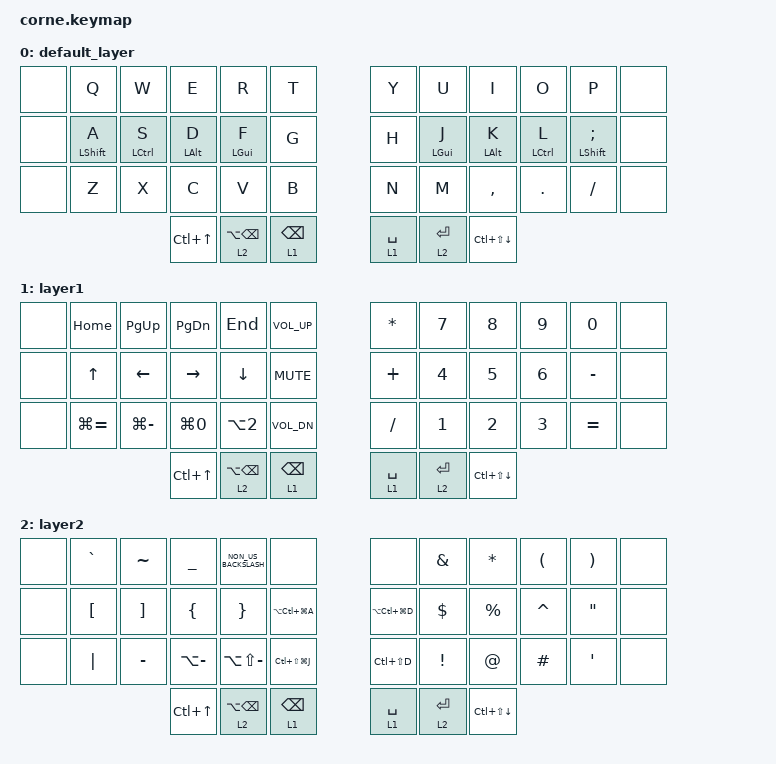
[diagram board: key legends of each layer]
/*
 * Copyright (c) 2020 The ZMK Contributors
 *
 * SPDX-License-Identifier: MIT
 */

#include <behaviors.dtsi>
#include <dt-bindings/zmk/keys.h>

/ {
    combos {
        compatible = "zmk,combos";

        Cut {
            bindings = <&kp LG(X)>;
            key-positions = <13 14>;
            slow-release;
            require-prior-idle-ms = <150>;
            timeout-ms = <50>;
        };

        Copy {
            bindings = <&kp LG(C)>;
            key-positions = <15 16>;
            slow-release;
            require-prior-idle-ms = <150>;
            timeout-ms = <50>;
        };

        Paste {
            bindings = <&kp LG(V)>;
            key-positions = <19 20>;
            slow-release;
            require-prior-idle-ms = <150>;
            timeout-ms = <50>;
        };

        PurePaste {
            bindings = <&kp LC(V)>;
            key-positions = <21 22>;
            slow-release;
            require-prior-idle-ms = <150>;
            timeout-ms = <50>;
        };

        Alfred {
            bindings = <&kp LG(SPACE)>;
            key-positions = <17 18>;
            slow-release;
            require-prior-idle-ms = <150>;
            timeout-ms = <50>;
        };

        Clipboard {
            bindings = <&kp LG(LS(V))>;
            key-positions = <16 19>;
            slow-release;
            require-prior-idle-ms = <150>;
            timeout-ms = <50>;
        };

        SelectAll {
            bindings = <&kp LG(A)>;
            key-positions = <15 20>;
            slow-release;
            require-prior-idle-ms = <150>;
            timeout-ms = <50>;
        };

        ColorPicker {
            bindings = <&kp LG(LS(J))>;
            key-positions = <14 21>;
            slow-release;
            require-prior-idle-ms = <150>;
            timeout-ms = <50>;
        };

        LeftDesktop {
            bindings = <&kp LC(LEFT)>;
            key-positions = <13 16>;
            slow-release;
            require-prior-idle-ms = <150>;
            timeout-ms = <50>;
        };

        RightDesktop {
            bindings = <&kp LC(RIGHT)>;
            key-positions = <19 22>;
            slow-release;
            require-prior-idle-ms = <150>;
            timeout-ms = <50>;
        };

        LeftTab {
            bindings = <&kp LC(LS(TAB))>;
            key-positions = <13 15>;
            slow-release;
            require-prior-idle-ms = <150>;
            timeout-ms = <50>;
        };

        RightTab {
            bindings = <&kp LC(TAB)>;
            key-positions = <20 22>;
            slow-release;
            require-prior-idle-ms = <150>;
            timeout-ms = <50>;
        };

        LeftApp {
            bindings = <&kp LA(TAB)>;
            key-positions = <16 14>;
            slow-release;
            require-prior-idle-ms = <150>;
            timeout-ms = <50>;
        };

        RightApp {
            bindings = <&kp LA(TAB)>;
            key-positions = <19 21>;
            slow-release;
            require-prior-idle-ms = <150>;
            timeout-ms = <50>;
        };

        TextSniper {
            bindings = <&kp LG(LS(NUMBER_2))>;
            key-positions = <14 15>;
            slow-release;
            require-prior-idle-ms = <150>;
            timeout-ms = <50>;
        };

        LassoScreenshot {
            bindings = <&kp LG(LS(NUMBER_4))>;
            key-positions = <20 21>;
            slow-release;
            require-prior-idle-ms = <150>;
            timeout-ms = <50>;
        };

        Undo {
            bindings = <&kp LG(Z)>;
            key-positions = <16 17>;
            slow-release;
            require-prior-idle-ms = <150>;
            timeout-ms = <50>;
        };

        Redo {
            bindings = <&kp LG(LS(Z))>;
            key-positions = <18 19>;
            slow-release;
            require-prior-idle-ms = <150>;
            timeout-ms = <50>;
        };

        Escape {
            bindings = <&kp ESCAPE>;
            key-positions = <25 26>;
            slow-release;
            require-prior-idle-ms = <150>;
            timeout-ms = <50>;
        };

        Tab {
            bindings = <&kp TAB>;
            key-positions = <27 28>;
            slow-release;
            require-prior-idle-ms = <150>;
            timeout-ms = <50>;
        };

        LockMac {
            bindings = <&kp LG(L)>;
            key-positions = <29 30>;
            slow-release;
            require-prior-idle-ms = <150>;
            timeout-ms = <50>;
        };

        Delete {
            bindings = <&kp DELETE>;
            key-positions = <31 32>;
            slow-release;
            require-prior-idle-ms = <150>;
            timeout-ms = <50>;
        };

        CapsLock {
            bindings = <&kp CAPSLOCK>;
            key-positions = <33 34>;
            slow-release;
            require-prior-idle-ms = <150>;
            timeout-ms = <50>;
        };
    };

    behaviors {
        kp_behavior: kp_behavior {
            compatible = "zmk,behavior-hold-tap";
            label = "KP_BEHAVIOR";
            bindings = <&kp>, <&kp>;

            #binding-cells = <2>;
            tapping-term-ms = <75>;
            flavor = "balanced";
            hold-while-undecided;
            hold-while-undecided-linger;
            retro-tap;
            hold-trigger-on-release;
            quick-tap-ms = <60>;
            require-prior-idle-ms = <0>;
            hold-trigger-key-positions = <1 2 3 4 5 7 8 9 10 31 32 33 34 6 30 25 26 27 28 29 17 18 13 14 15 16 19 20 21 22>;
        };

        lt_behavior: lt_behavior {
            compatible = "zmk,behavior-hold-tap";
            label = "LT_BEHAVIOR";
            bindings = <&lt>, <&lt>;

            #binding-cells = <2>;
            tapping-term-ms = <450>;
            hold-trigger-key-positions = <37 38 39 40>;
            quick-tap-ms = <250>;
            require-prior-idle-ms = <200>;
            hold-while-undecided;
            hold-while-undecided-linger;
            retro-tap;
            hold-trigger-on-release;
        };

        mt_behavior: mt_behavior {
            compatible = "zmk,behavior-hold-tap";
            label = "MT_BEHAVIOR";
            bindings = <&mt>, <&mt>;

            #binding-cells = <2>;
            tapping-term-ms = <450>;
            hold-trigger-key-positions = <13 14 15 16 19 20 21 22>;
            quick-tap-ms = <400>;
            require-prior-idle-ms = <350>;
            hold-while-undecided;
            hold-while-undecided-linger;
            retro-tap;
            hold-trigger-on-release;
            flavor = "balanced";
        };
    };

    keymap {
        compatible = "zmk,keymap";

        default_layer {
            // -----------------------------------------------------------------------------------------
            // |  TAB |  Q  |  W  |  E  |  R  |  T  |   |  Y  |  U   |  I  |  O  |  P  | BSPC |
            // | CTRL |  A  |  S  |  D  |  F  |  G  |   |  H  |  J   |  K  |  L  |  ;  |  '   |
            // | SHFT |  Z  |  X  |  C  |  V  |  B  |   |  N  |  M   |  ,  |  .  |  /  | ESC  |
            //                    | GUI | LWR | SPC |   | ENT | RSE  | ALT |

            bindings = <
&none  &kp Q             &kp W               &kp E             &kp R                &kp T              &kp Y        &kp U           &kp I             &kp O               &kp P                     &none
&none  &mt LEFT_SHIFT A  &mt LEFT_CONTROL S  &mt LEFT_ALT D    &mt LEFT_GUI F       &kp G              &kp H        &mt LEFT_GUI J  &mt LEFT_ALT K    &mt LEFT_CONTROL L  &mt LEFT_SHIFT SEMICOLON  &none
&none  &kp Z             &kp X               &kp C             &kp V                &kp B              &kp N        &kp M           &kp COMMA         &kp DOT             &kp FSLH                  &none
                                             &kp LC(UP_ARROW)  &lt 2 LA(BACKSPACE)  &lt 1 BACKSPACE    &lt 1 SPACE  &lt 2 ENTER     &kp LC(LS(DOWN))
            >;
        };

        layer1 {
            // -----------------------------------------------------------------------------------------
            // |  TAB |  1  |  2  |  3  |  4  |  5  |   |  6  |  7  |  8  |  9  |  0  | BSPC |
            // | BTCLR| BT1 | BT2 | BT3 | BT4 | BT5 |   | LFT | DWN |  UP | RGT |     |      |
            // | SHFT |     |     |     |     |     |   |     |     |     |     |     |      |
            //                    | GUI |     | SPC |   | ENT |     | ALT |

            bindings = <
&none  &kp HOME       &kp PAGE_UP    &kp PAGE_DOWN     &kp END              &kp C_VOLUME_UP    &kp ASTERISK  &kp N7        &kp N8            &kp N9        &kp N0     &none
&none  &kp UP_ARROW   &kp LEFT       &kp RIGHT         &kp DOWN             &kp K_MUTE         &kp PLUS      &kp NUMBER_4  &kp N5            &kp NUMBER_6  &kp MINUS  &none
&none  &kp LG(EQUAL)  &kp LG(MINUS)  &kp LG(N0)        &kp LA(NUMBER_2)     &kp C_VOL_DN       &kp SLASH     &kp NUMBER_1  &kp NUMBER_2      &kp NUMBER_3  &kp EQUAL  &none
                                     &kp LC(UP_ARROW)  &lt 2 LA(BACKSPACE)  &lt 1 BACKSPACE    &lt 1 SPACE   &lt 2 ENTER   &kp LC(LS(DOWN))
            >;
        };

        layer2 {
            // -----------------------------------------------------------------------------------------
            // |  TAB |  !  |  @  |  #  |  $  |  %  |   |  ^  |  &  |  *  |  (  |  )  | BSPC |
            // | CTRL |     |     |     |     |     |   |  -  |  =  |  [  |  ]  |  \  |  `   |
            // | SHFT |     |     |     |     |     |   |  _  |  +  |  {  |  }  | "|" |  ~   |
            //                    | GUI |     | SPC |   | ENT |     | ALT |

            bindings = <
&none  &kp GRAVE         &kp TILDE          &kp UNDERSCORE    &kp NON_US_BACKSLASH  &none                &none              &kp AMPS         &kp ASTRK         &kp LPAR   &kp RPAR           &none
&none  &kp LEFT_BRACKET  &kp RIGHT_BRACKET  &kp LEFT_BRACE    &kp RIGHT_BRACE       &kp LA(LC(LG(A)))    &kp LA(LC(LG(D)))  &kp DOLLAR       &kp PERCENT       &kp CARET  &kp DOUBLE_QUOTES  &none
&none  &kp PIPE          &kp MINUS          &kp LA(MINUS)     &kp LA(LS(MINUS))     &kp LC(LS(LG(J)))    &kp LC(LS(D))      &kp EXCLAMATION  &kp AT_SIGN       &kp HASH   &kp SQT            &none
                                            &kp LC(UP_ARROW)  &lt 2 LA(BACKSPACE)   &lt 1 BACKSPACE      &lt 1 SPACE        &lt 2 ENTER      &kp LC(LS(DOWN))
            >;
        };
    };
};
